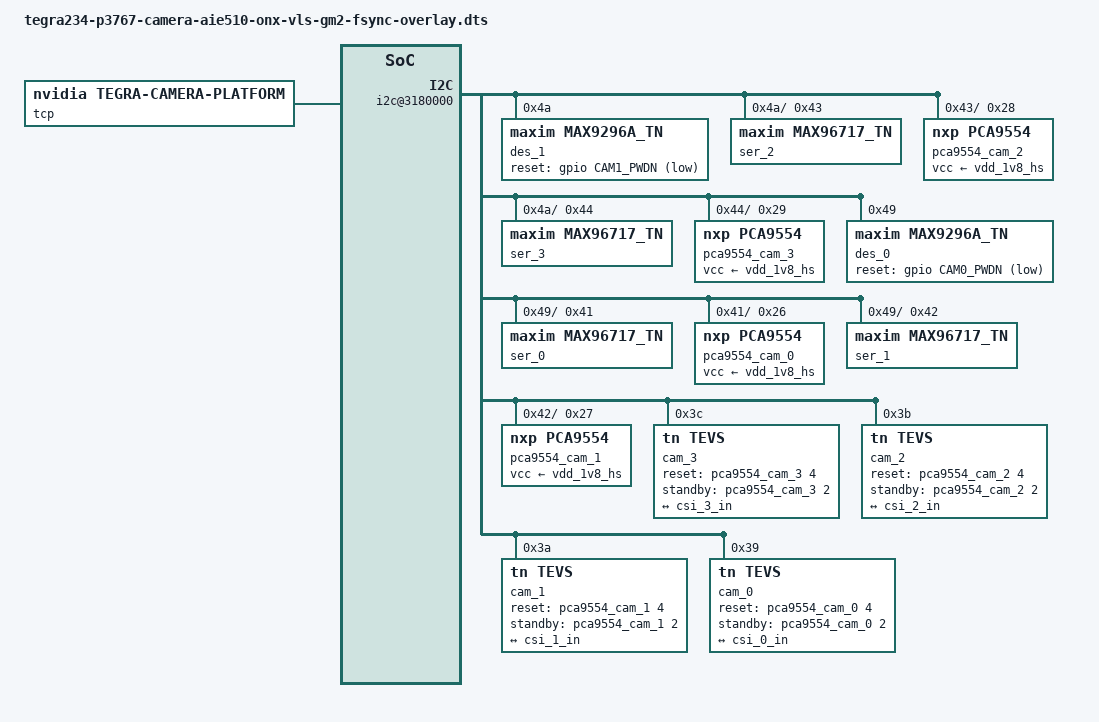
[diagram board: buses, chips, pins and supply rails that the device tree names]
// SPDX-License-Identifier: GPL-2.0-only
// SPDX-FileCopyrightText: Copyright (c) 2023, NVIDIA CORPORATION & AFFILIATES. All rights reserved.

/dts-v1/;
/plugin/;

#include <dt-bindings/tegra234-p3767-0000-common.h>
#include <dt-bindings/pinctrl/pinctrl-tegra.h>

#define CAM0_PWDN		TEGRA234_MAIN_GPIO(H, 6)
#define CAM1_PWDN		TEGRA234_MAIN_GPIO(AC, 0)

#define CAM_I2C_MUX 	TEGRA234_AON_GPIO(CC, 3)

#define CAM_NUM 4

#define CAM0_PORT 				0
#define CAM0_LANES 				4
#define CAM0_VC_ID 				0
#define CAM0_LANES_STRING 		"4"
#define CAM0_SINTERFACE			"serial_a"
#define CAM0_LANE_POLARITY		"6"
#define CAM0_PIXEL_CLK			"200000000"
#define CAM0_SERDES_PIXEL_CLK	"500000000"
#define CAM0_DES_PHY_ID			0

#define CAM1_PORT 				0
#define CAM1_LANES 				4
#define CAM1_VC_ID 				1
#define CAM1_LANES_STRING 		"4"
#define CAM1_SINTERFACE			"serial_a"
#define CAM1_LANE_POLARITY		"6"
#define CAM1_PIXEL_CLK			"200000000"
#define CAM1_SERDES_PIXEL_CLK	"500000000"
#define CAM1_DES_PHY_ID			0

#define CAM2_PORT 				2
#define CAM2_LANES 				4
#define CAM2_VC_ID 				0
#define CAM2_LANES_STRING 		"4"
#define CAM2_SINTERFACE			"serial_c"
#define CAM2_LANE_POLARITY		"0"
#define CAM2_PIXEL_CLK			"200000000"
#define CAM2_SERDES_PIXEL_CLK	"500000000"
#define CAM2_DES_PHY_ID			0

#define CAM3_PORT 				2
#define CAM3_LANES 				4
#define CAM3_VC_ID 				1
#define CAM3_LANES_STRING 		"4"
#define CAM3_SINTERFACE			"serial_c"
#define CAM3_LANE_POLARITY		"0"
#define CAM3_PIXEL_CLK			"200000000"
#define CAM3_SERDES_PIXEL_CLK	"500000000"
#define CAM3_DES_PHY_ID			0

#define DES_LINK_FREQ			1000000000
#define TEVS_LINK_FREQ			400000000

#define TEVS_MODE_COMMON(LANES, SINTERFACE, LANE_POLARITY, PIXEL_CLK, SERDES_PIXEL_CLK)	\
	mclk_khz = "24000";							\
	num_lanes = LANES;							\
	tegra_sinterface = SINTERFACE;				\
	lane_polarity = LANE_POLARITY;				\
	phy_mode = "DPHY";							\
	discontinuous_clk = "no";					\
	dpcm_enable = "false";						\
	cil_settletime = "0";						\
	mode_type = "yuv";							\
	pixel_phase = "uyvy";						\
	csi_pixel_bit_depth = "16";					\
	readout_orientation = "90";					\
	line_length = "3448";						\
	inherent_gain = "1";						\
	mclk_multiplier = "9.33";					\
	pix_clk_hz = PIXEL_CLK;						\
	serdes_pix_clk_hz = SERDES_PIXEL_CLK;		\
	gain_factor = "16";							\
	framerate_factor = "1000000";				\
	exposure_factor = "1000000";				\
	min_gain_val = "16";						\
	max_gain_val = "170";						\
	step_gain_val = "1";						\
	default_gain = "16";						\
	min_hdr_ratio = "1";						\
	max_hdr_ratio = "1";						\
	min_framerate = "2000000";					\
	step_framerate = "1";						\
	min_exp_time = "13";						\
	max_exp_time = "683709";					\
	step_exp_time = "1";						\
	default_exp_time = "2495";					\
	embedded_metadata_height = "0";

#define TEVS_MODES(LANES, SINTERFACE, LANE_POLARITY, PIXEL_CLK, SERDES_PIXEL_CLK)	\
	mode0 {										\
		TEVS_MODE_COMMON(LANES, SINTERFACE, LANE_POLARITY, PIXEL_CLK, SERDES_PIXEL_CLK)	\
		active_w = "3280";						\
		active_h = "2464";						\
		max_framerate = "21000000";				\
		default_framerate = "21000000";			\
	};											\
	mode1 {										\
		TEVS_MODE_COMMON(LANES, SINTERFACE, LANE_POLARITY, PIXEL_CLK, SERDES_PIXEL_CLK)	\
		active_w = "3280";						\
		active_h = "1848";						\
		max_framerate = "28000000";				\
		default_framerate = "28000000";			\
	};											\
	mode2 {										\
		TEVS_MODE_COMMON(LANES, SINTERFACE, LANE_POLARITY, PIXEL_CLK, SERDES_PIXEL_CLK)	\
		active_w = "1920";						\
		active_h = "1080";						\
		max_framerate = "30000000";				\
		default_framerate = "30000000";			\
	};											\
	mode3 {										\
		TEVS_MODE_COMMON(LANES, SINTERFACE, LANE_POLARITY, PIXEL_CLK, SERDES_PIXEL_CLK)	\
		active_w = "1640";						\
		active_h = "1232";						\
		max_framerate = "30000000";				\
		default_framerate = "30000000";			\
	};											\
	mode4 {										\
		TEVS_MODE_COMMON(LANES, SINTERFACE, LANE_POLARITY, PIXEL_CLK, SERDES_PIXEL_CLK)	\
		active_w = "1280";						\
		active_h = "720";						\
		max_framerate = "60000000";				\
		default_framerate = "60000000";			\
	};											\
	mode5 {										\
		TEVS_MODE_COMMON(LANES, SINTERFACE, LANE_POLARITY, PIXEL_CLK, SERDES_PIXEL_CLK)	\
		active_w = "640";						\
		active_h = "480";						\
		max_framerate = "60000000";				\
		default_framerate = "60000000";			\
	};

/ {
	overlay-name = "TechNexion VLS-GM2 Camera with FSYNC Pixel Mode";
	jetson-header-name = "Jetson 24pin CSI Connector";

	fragment@0 {
		target = <&pinmux>;
		__overlay__ {
			pinctrl-names = "default";
			pinctrl-0 = <&jetson_io_pinmux>;
			jetson_io_pinmux: exp-header-pinmux {
				uart4_cts_ph6 {
					nvidia,pins = "uart4_cts_ph6";
					nvidia,function = "rsvd1";
					nvidia,pin-label = "cam_pwdn0";
					nvidia,pull = <TEGRA_PIN_PULL_UP>;
					nvidia,tristate = <TEGRA_PIN_DISABLE>;
					nvidia,enable-input = <TEGRA_PIN_DISABLE>;
				};
				spi5_sck_pac0 {
					nvidia,pins = "spi5_sck_pac0";
					nvidia,function = "rsvd3";
					nvidia,pin-group = "cam_pwdn1";
					nvidia,pull = <TEGRA_PIN_PULL_UP>;
					nvidia,tristate = <TEGRA_PIN_DISABLE>;
					nvidia,enable-input = <TEGRA_PIN_ENABLE>;
				};
			};
		};
	};

	fragment-camera-tevs@1 {
		target-path = "/";
		__overlay__ {
			tegra-capture-vi  {
				num-channels = <CAM_NUM>;
				ports {
					#address-cells = <1>;
					#size-cells = <0>;

					vi_port0: port@0 {
						reg = <0>;

						vi_in0: endpoint {
							vc-id = <CAM0_VC_ID>;
							port-index = <CAM0_PORT>;
							bus-width = <CAM0_LANES>;
							remote-endpoint = <&csi_0_out>;
						};
					};

					vi_port1: port@1 {
						reg = <1>;

						vi_in1: endpoint {
							vc-id = <CAM1_VC_ID>;
							port-index = <CAM1_PORT>;
							bus-width = <CAM1_LANES>;
							remote-endpoint = <&csi_1_out>;
						};
					};

					vi_port2: port@2 {
						reg = <2>;

						vi_in2: endpoint {
							vc-id = <CAM2_VC_ID>;
							port-index = <CAM2_PORT>;
							bus-width = <CAM2_LANES>;
							remote-endpoint = <&csi_2_out>;
						};
					};

					vi_port3: port@3 {
						reg = <3>;

						vi_in3: endpoint {
							vc-id = <CAM3_VC_ID>;
							port-index = <CAM3_PORT>;
							bus-width = <CAM3_LANES>;
							remote-endpoint = <&csi_3_out>;
						};
					};
				};
			};

			tcp: tegra-camera-platform {
				compatible = "nvidia, tegra-camera-platform";
				/**
				* Physical settings to calculate max ISO BW
				*
				* num_csi_lanes = <>;
				* Total number of CSI lanes when all cameras are active
				*
				* max_lane_speed = <>;
				* Max lane speed in Kbit/s
				*
				* min_bits_per_pixel = <>;
				* Min bits per pixel
				*
				* vi_peak_byte_per_pixel = <>;
				* Max byte per pixel for the VI ISO case
				*
				* vi_bw_margin_pct = <>;
				* Vi bandwidth margin in percentage
				*
				* max_pixel_rate = <>;
				* Max pixel rate in Kpixel/s for the ISP ISO case
				*
				* isp_peak_byte_per_pixel = <>;
				* Max byte per pixel for the ISP ISO case
				*
				* isp_bw_margin_pct = <>;
				* Isp bandwidth margin in percentage
				*/
				num_csi_lanes = <8>;
				max_lane_speed = <2500000>;
				min_bits_per_pixel = <16>;
				vi_peak_byte_per_pixel = <2>;
				vi_bw_margin_pct = <25>;
				// max_pixel_rate = <240000>;
				// isp_peak_byte_per_pixel = <5>;
				// isp_bw_margin_pct = <25>;

				/**
				 * The general guideline for naming badge_info contains 3 parts, and is as follows,
				 * The first part is the camera_board_id for the module; if the module is in a FFD
				 * platform, then use the platform name for this part.
				 * The second part contains the position of the module, ex. "rear" or "front".
				 * The third part contains the last 6 characters of a part number which is found
				 * in the module's specsheet from the vendor.
				 */
				modules {
					module0 {
						badge = "jakku_front_RBP194";
						position = "front";
						orientation = "1";
						drivernode0 {
							pcl_id = "v4l2_sensor";
							sysfs-device-tree = "/sys/firmware/devicetree/base/bus@0/i2c@3180000/rpi22_tevs_a@39";
						};
					};

					module1 {
						badge = "jakku_front_RBP194";
						position = "front";
						orientation = "1";
						drivernode0 {
							pcl_id = "v4l2_sensor";
							sysfs-device-tree = "/sys/firmware/devicetree/base/bus@0/i2c@3180000/rpi22_tevs_b@3a";
						};
					};

					module2 {
						badge = "jakku_front_RBP194";
						position = "front";
						orientation = "1";
						drivernode0 {
							pcl_id = "v4l2_sensor";
							sysfs-device-tree = "/sys/firmware/devicetree/base/bus@0/i2c@3180000/rpi22_tevs_c@3b";
						};
					};

					module3 {
						badge = "jakku_front_RBP194";
						position = "front";
						orientation = "1";
						drivernode0 {
							pcl_id = "v4l2_sensor";
							sysfs-device-tree = "/sys/firmware/devicetree/base/bus@0/i2c@3180000/rpi22_tevs_d@3c";
						};
					};
				};
			};

			bus@0 {
				host1x@13e00000 {
					nvcsi@15a00000 {
						#address-cells = <1>;
						#size-cells = <0>;

						num-channels = <CAM_NUM>;

						channel@0 {
							reg = <0>;
							ports {
								#address-cells = <1>;
								#size-cells = <0>;

								port@0 {
									reg = <0>;

									csi_0_in: endpoint@0 {
										port-index = <CAM0_PORT>;
										bus-width = <CAM0_LANES>;
										remote-endpoint = <&rpi22_tevs_0_out>;
									};
								};

								port@1 {
									reg = <1>;

									csi_0_out: endpoint@1 {
										remote-endpoint = <&vi_in0>;
									};
								};
							};
						};

						channel@1 {
							reg = <1>;
							ports {
								#address-cells = <1>;
								#size-cells = <0>;

								port@0 {
									reg = <0>;

									csi_1_in: endpoint@2 {
										port-index = <CAM1_PORT>;
										bus-width = <CAM1_LANES>;
										remote-endpoint = <&rpi22_tevs_1_out>;
									};
								};

								port@1 {
									reg = <1>;

									csi_1_out: endpoint@3 {
										remote-endpoint = <&vi_in1>;
									};
								};
							};
						};

						channel@2 {
							reg = <2>;
							ports {
								#address-cells = <1>;
								#size-cells = <0>;

								port@0 {
									reg = <0>;

									csi_2_in: endpoint@4 {
										port-index = <CAM2_PORT>;
										bus-width = <CAM2_LANES>;
										remote-endpoint = <&rpi22_tevs_2_out>;
									};
								};

								port@1 {
									reg = <1>;

									csi_2_out: endpoint@5 {
										remote-endpoint = <&vi_in2>;
									};
								};
							};
						};

						channel@3 {
							reg = <3>;
							ports {
								#address-cells = <1>;
								#size-cells = <0>;

								port@0 {
									reg = <0>;

									csi_3_in: endpoint@6 {
										port-index = <CAM3_PORT>;
										bus-width = <CAM3_LANES>;
										remote-endpoint = <&rpi22_tevs_3_out>;
									};
								};

								port@1 {
									reg = <1>;

									csi_3_out: endpoint@7 {
										remote-endpoint = <&vi_in3>;
									};
								};
							};
						};
					};
				};

				gpio@2200000 {
					camera-control-output-low {
						status = "disabled";
						gpio-hog;
						output-low;
					};
				};

				i2c@3180000 {
					#address-cells = <1>;
					#size-cells = <0>;

					status = "okay";

					des_1: gmsl-deserializer@4a {
						#address-cells = <1>;
						#size-cells = <0>;
						status = "okay";

						compatible = "maxim,max9296a_tn";
						reg = <0x4a>;

						reset-gpios = <&gpio CAM1_PWDN GPIO_ACTIVE_LOW>;

						//i2c addr alias map "serializer0, serializer1"
						i2c-addr-alias-map-local = <0x43 0x44>;
						i2c-addr-alias-map-remote = <0x40 0x40>;
						i2c-addr-alias-source-id = <0 1>;

						gpio-controller;
						#gpio-cells = <2>;
						gpio-ranges = <&des_1 0 0 12>;

						pinctrl-names = "default";
						pinctrl-0 = <&des_1_pinmux_default>;

						fsync-mode = "external";

						des_1_pinmux_default: pinmux {
							mfp6_fsync {
								pins = "mfp6";
								function = "gpio";
								maxim,gmsl-tx = <1>;
								maxim,gmsl-tx-id = <0>;
								input-enable;
							};
						};

						i2c-mux {
							#address-cells = <1>;
							#size-cells = <0>;

							des_1_i2c_0: i2c@0 {
								#address-cells = <1>;
								#size-cells = <0>;

								reg = <0>;
							};

							des_1_i2c_1: i2c@1 {
								#address-cells = <1>;
								#size-cells = <0>;

								reg = <1>;
							};
						};

						phy@0 {
							reg = <0>;
						};

						pipe@0 {
							reg = <0>;

							maxim,phy-id = <CAM2_DES_PHY_ID>;
						};

						pipe@1 {
							reg = <1>;

							maxim,phy-id = <CAM3_DES_PHY_ID>;
						};

						channel@1 {
							reg = <1>;
							label = "des_1_ch_1";

							maxim,phy-id = <CAM3_DES_PHY_ID>;

							clock-lanes = <0>;
							data-lanes = <1 2 3 4>;
							link-frequencies = /bits/ 64 <DES_LINK_FREQ>;
						};

						channel@0 {
							reg = <0>;
							label = "des_1_ch_0";

							maxim,phy-id = <CAM2_DES_PHY_ID>;

							clock-lanes = <0>;
							data-lanes = <1 2 3 4>;
							link-frequencies = /bits/ 64 <DES_LINK_FREQ>;
						};
					};

					des_0: gmsl-deserializer@49 {
						#address-cells = <1>;
						#size-cells = <0>;
						status = "okay";

						compatible = "maxim,max9296a_tn";
						reg = <0x49>;
						phy-reg = <0x48>;

						reset-gpios = <&gpio CAM0_PWDN GPIO_ACTIVE_LOW>;

						//i2c addr alias map "serializer0, serializer1"
						i2c-addr-alias-map-local = <0x41 0x42>;
						i2c-addr-alias-map-remote = <0x40 0x40>;
						i2c-addr-alias-source-id = <0 1>;

						gpio-controller;
						#gpio-cells = <2>;
						gpio-ranges = <&des_0 0 0 12>;

						fsync-mode = "internal-output";
						fsync-freq = <30>;

						i2c-mux {
							#address-cells = <1>;
							#size-cells = <0>;

							des_0_i2c_0: i2c@0 {
								#address-cells = <1>;
								#size-cells = <0>;

								reg = <0>;
							};

							des_0_i2c_1: i2c@1 {
								#address-cells = <1>;
								#size-cells = <0>;

								reg = <1>;
							};
						};

						phy@0 {
							reg = <0>;
						};

						pipe@0 {
							reg = <0>;

							maxim,phy-id = <CAM0_DES_PHY_ID>;
						};

						pipe@1 {
							reg = <1>;

							maxim,phy-id = <CAM1_DES_PHY_ID>;
						};

						channel@1 {
							reg = <1>;
							label = "des_0_ch_1";

							maxim,phy-id = <CAM1_DES_PHY_ID>;

							clock-lanes = <0>;
							data-lanes = <1 2 3 4>;
							link-frequencies = /bits/ 64 <DES_LINK_FREQ>;
						};

						channel@0 {
							reg = <0>;
							label = "des_0_ch_0";

							maxim,phy-id = <CAM0_DES_PHY_ID>;

							clock-lanes = <0>;
							data-lanes = <1 2 3 4>;
							link-frequencies = /bits/ 64 <DES_LINK_FREQ>;
						};
					};

					cam_3: rpi22_tevs_d@3c {
						compatible = "tn,tevs";
						/* I2C device address */
						reg = <0x3c>;
						status = "okay";

						reset-gpios = <&pca9554_cam_3 4 GPIO_ACTIVE_HIGH>;
						standby-gpios = <&pca9554_cam_3 2 GPIO_ACTIVE_HIGH>;
						technexion,gmsl-ser = <&ser_3>;
						technexion,gmsl-des = <&des_1>;
						technexion,gmsl-des-channel = <1>;
						trigger-mode = <2>;

						/* V4L2 device node location */
						devnode = "video3";
						/* Physical dimensions of sensor */
						physical_w = "3.680";
						physical_h = "2.760";
						sensor_model = "tevs";
						use_sensor_mode_id = "false";

						TEVS_MODES(CAM3_LANES_STRING, CAM3_SINTERFACE, CAM3_LANE_POLARITY, CAM3_PIXEL_CLK, CAM3_SERDES_PIXEL_CLK)

						ports {
							#address-cells = <1>;
							#size-cells = <0>;
							port@0 {
								reg = <0>;

								rpi22_tevs_3_out: endpoint {
									port-index = <CAM3_PORT>;
									bus-width = <CAM3_LANES>;
									remote-endpoint = <&csi_3_in>;
									link-frequencies = /bits/ 64 <TEVS_LINK_FREQ>;
								};
							};
						};
					};

					cam_2: rpi22_tevs_c@3b {
						compatible = "tn,tevs";
						/* I2C device address */
						reg = <0x3b>;
						status = "okay";

						reset-gpios = <&pca9554_cam_2 4 GPIO_ACTIVE_HIGH>;
						standby-gpios = <&pca9554_cam_2 2 GPIO_ACTIVE_HIGH>;
						technexion,gmsl-ser = <&ser_2>;
						technexion,gmsl-des = <&des_1>;
						technexion,gmsl-des-channel = <0>;
						trigger-mode = <2>;

						/* V4L2 device node location */
						devnode = "video2";
						/* Physical dimensions of sensor */
						physical_w = "3.680";
						physical_h = "2.760";
						sensor_model = "tevs";
						use_sensor_mode_id = "false";

						TEVS_MODES(CAM2_LANES_STRING, CAM2_SINTERFACE, CAM2_LANE_POLARITY, CAM2_PIXEL_CLK, CAM2_SERDES_PIXEL_CLK)

						ports {
							#address-cells = <1>;
							#size-cells = <0>;
							port@0 {
								reg = <0>;

								rpi22_tevs_2_out: endpoint {
									port-index = <CAM2_PORT>;
									bus-width = <CAM2_LANES>;
									remote-endpoint = <&csi_2_in>;
									link-frequencies = /bits/ 64 <TEVS_LINK_FREQ>;
								};
							};
						};
					};

					cam_1: rpi22_tevs_b@3a {
						compatible = "tn,tevs";
						/* I2C device address */
						reg = <0x3a>;
						status = "okay";

						reset-gpios = <&pca9554_cam_1 4 GPIO_ACTIVE_HIGH>;
						standby-gpios = <&pca9554_cam_1 2 GPIO_ACTIVE_HIGH>;
						technexion,gmsl-ser = <&ser_1>;
						technexion,gmsl-des = <&des_0>;
						technexion,gmsl-des-channel = <1>;
						trigger-mode = <2>;

						/* V4L2 device node location */
						devnode = "video1";
						/* Physical dimensions of sensor */
						physical_w = "3.680";
						physical_h = "2.760";
						sensor_model = "tevs";
						use_sensor_mode_id = "false";

						TEVS_MODES(CAM1_LANES_STRING, CAM1_SINTERFACE, CAM1_LANE_POLARITY, CAM1_PIXEL_CLK, CAM1_SERDES_PIXEL_CLK)

						ports {
							#address-cells = <1>;
							#size-cells = <0>;
							port@0 {
								reg = <0>;

								rpi22_tevs_1_out: endpoint {
									port-index = <CAM1_PORT>;
									bus-width = <CAM1_LANES>;
									remote-endpoint = <&csi_1_in>;
									link-frequencies = /bits/ 64 <TEVS_LINK_FREQ>;
								};
							};
						};
					};

					cam_0: rpi22_tevs_a@39 {
						compatible = "tn,tevs";
						/* I2C device address */
						reg = <0x39>;
						status = "okay";

						reset-gpios = <&pca9554_cam_0 4 GPIO_ACTIVE_HIGH>;
						standby-gpios = <&pca9554_cam_0 2 GPIO_ACTIVE_HIGH>;
						technexion,gmsl-ser = <&ser_0>;
						technexion,gmsl-des = <&des_0>;
						technexion,gmsl-des-channel = <0>;
						trigger-mode = <2>;

						/* V4L2 device node location */
						devnode = "video0";
						/* Physical dimensions of sensor */
						physical_w = "3.680";
						physical_h = "2.760";
						sensor_model = "tevs";
						use_sensor_mode_id = "false";

						TEVS_MODES(CAM0_LANES_STRING, CAM0_SINTERFACE, CAM0_LANE_POLARITY, CAM0_PIXEL_CLK, CAM0_SERDES_PIXEL_CLK)

						ports {
							#address-cells = <1>;
							#size-cells = <0>;
							port@0 {
								reg = <0>;

								rpi22_tevs_0_out: endpoint {
									port-index = <CAM0_PORT>;
									bus-width = <CAM0_LANES>;
									remote-endpoint = <&csi_0_in>;
									link-frequencies = /bits/ 64 <TEVS_LINK_FREQ>;
								};
							};
						};
					};
				};
			};
		};
	};
};

&des_0_i2c_0 {
	ser_0: gmsl-serializer@41 {
		#address-cells = <1>;
		#size-cells = <0>;
		status = "okay";

		compatible = "maxim,max96717_tn";
		reg = <0x41>;

		// i2c addr alias map "sensor, gpio expander"
		i2c-addr-alias-map-local = <0x39 0x26>;
		i2c-addr-alias-map-remote = <0x48 0x25>;

		gpio-controller;
		#gpio-cells = <2>;
		gpio-ranges = <&ser_0 0 0 11>;

		pinctrl-names = "default";
		pinctrl-0 = <&ser_0_pinmux_default>;

		ser_0_pinmux_default: pinmux {
			mfp0_fsync {
				pins = "mfp0";
				function = "gpio";
				maxim,gmsl-rx = <1>;
				maxim,gmsl-rx-id = <0>;
				output-enable;
				output-low;
			};
		};

		i2c-mux {
			#address-cells = <1>;
			#size-cells = <0>;

			ser_0_i2c_0: i2c@0 {
				#address-cells = <1>;
				#size-cells = <0>;

				reg = <0>;
			};
		};

		pipe@0 {
			reg = <0>;

			maxim,stream-id = <0>;
		};

		channel@0 {
			reg = <0>;
			label = "ser_0_ch_0";

			clock-lanes = <0>;
			data-lanes = <1 2 3 4>;
		};
	};
};

&ser_0_i2c_0 {
	pca9554_cam_0: pca9554@26 {
		compatible = "nxp,pca9554";
		reg = <0x26>;
		gpio-controller;
		#gpio-cells = <2>;
		gpio-line-names = "EXPOSURE_TRIG_IN",
						"FLASH_OUT",
						"INFO_TRIG_IN",
						"CAMA_SHUTTER",
						"CSI_P1_nRST",
						"PWR_TIME0",
						"PWR_TIME1",
						"3V3_EN";
		vcc-supply = <&vdd_1v8_hs>;
		vcc_lp = "vcc";
		status = "okay";
	};
};

&des_0_i2c_1 {
	ser_1: gmsl-serializer@42 {
		#address-cells = <1>;
		#size-cells = <0>;
		status = "okay";

		compatible = "maxim,max96717_tn";
		reg = <0x42>;

		// i2c addr alias map "sensor, gpio expander"
		i2c-addr-alias-map-local = <0x3a 0x27>;
		i2c-addr-alias-map-remote = <0x48 0x25>;

		gpio-controller;
		#gpio-cells = <2>;
		gpio-ranges = <&ser_1 0 0 11>;

		pinctrl-names = "default";
		pinctrl-0 = <&ser_1_pinmux_default>;

		ser_1_pinmux_default: pinmux {
			mfp0_fsync {
				pins = "mfp0";
				function = "gpio";
				maxim,gmsl-rx = <1>;
				maxim,gmsl-rx-id = <0>;
				output-enable;
				output-low;
			};
		};

		i2c-mux {
			#address-cells = <1>;
			#size-cells = <0>;

			ser_1_i2c_0: i2c@0 {
				#address-cells = <1>;
				#size-cells = <0>;

				reg = <0>;
			};
		};

		pipe@0 {
			reg = <0>;

			maxim,stream-id = <1>;
		};

		channel@0 {
			reg = <0>;
			label = "ser_1_ch_0";

			clock-lanes = <0>;
			data-lanes = <1 2 3 4>;
		};
	};
};

&ser_1_i2c_0 {
	pca9554_cam_1: pca9554@27 {
		compatible = "nxp,pca9554";
		reg = <0x27>;
		gpio-controller;
		#gpio-cells = <2>;
		gpio-line-names = "EXPOSURE_TRIG_IN",
						"FLASH_OUT",
						"INFO_TRIG_IN",
						"CAMA_SHUTTER",
						"CSI_P1_nRST",
						"PWR_TIME0",
						"PWR_TIME1",
						"3V3_EN";
		vcc-supply = <&vdd_1v8_hs>;
		vcc_lp = "vcc";
		status = "okay";
	};
};

&des_1_i2c_0 {
	ser_2: gmsl-serializer@43 {
		#address-cells = <1>;
		#size-cells = <0>;
		status = "okay";

		compatible = "maxim,max96717_tn";
		reg = <0x43>;

		// i2c addr alias map "sensor, gpio expander"
		i2c-addr-alias-map-local = <0x3b 0x28>;
		i2c-addr-alias-map-remote = <0x48 0x25>;

		gpio-controller;
		#gpio-cells = <2>;
		gpio-ranges = <&ser_2 0 0 11>;

		pinctrl-names = "default";
		pinctrl-0 = <&ser_2_pinmux_default>;

		ser_2_pinmux_default: pinmux {
			mfp0_fsync {
				pins = "mfp0";
				function = "gpio";
				maxim,gmsl-rx = <1>;
				maxim,gmsl-rx-id = <0>;
				output-enable;
				output-low;
			};
		};

		i2c-mux {
			#address-cells = <1>;
			#size-cells = <0>;

			ser_2_i2c_0: i2c@0 {
				#address-cells = <1>;
				#size-cells = <0>;

				reg = <0>;
			};
		};

		pipe@0 {
			reg = <0>;

			maxim,stream-id = <0>;
		};

		channel@0 {
			reg = <0>;
			label = "ser_2_ch_0";

			clock-lanes = <0>;
			data-lanes = <1 2 3 4>;
		};
	};
};

&ser_2_i2c_0 {
	pca9554_cam_2: pca9554@28 {
		compatible = "nxp,pca9554";
		reg = <0x28>;
		gpio-controller;
		#gpio-cells = <2>;
		gpio-line-names = "EXPOSURE_TRIG_IN",
						"FLASH_OUT",
						"INFO_TRIG_IN",
						"CAMA_SHUTTER",
						"CSI_P1_nRST",
						"PWR_TIME0",
						"PWR_TIME1",
						"3V3_EN";
		vcc-supply = <&vdd_1v8_hs>;
		vcc_lp = "vcc";
		status = "okay";
	};
};

&des_1_i2c_1 {
	ser_3: gmsl-serializer@44 {
		#address-cells = <1>;
		#size-cells = <0>;
		status = "okay";

		compatible = "maxim,max96717_tn";
		reg = <0x44>;

		// i2c addr alias map "sensor, gpio expander"
		i2c-addr-alias-map-local = <0x3c 0x29>;
		i2c-addr-alias-map-remote = <0x48 0x25>;

		gpio-controller;
		#gpio-cells = <2>;
		gpio-ranges = <&ser_3 0 0 11>;

		pinctrl-names = "default";
		pinctrl-0 = <&ser_3_pinmux_default>;

		ser_3_pinmux_default: pinmux {
			mfp0_fsync {
				pins = "mfp0";
				function = "gpio";
				maxim,gmsl-rx = <1>;
				maxim,gmsl-rx-id = <0>;
				output-enable;
				output-low;
			};
		};

		i2c-mux {
			#address-cells = <1>;
			#size-cells = <0>;

			ser_3_i2c_0: i2c@0 {
				#address-cells = <1>;
				#size-cells = <0>;

				reg = <0>;
			};
		};

		pipe@0 {
			reg = <0>;

			maxim,stream-id = <1>;
		};

		channel@0 {
			reg = <0>;
			label = "ser_3_ch_0";

			clock-lanes = <0>;
			data-lanes = <1 2 3 4>;
		};
	};
};

&ser_3_i2c_0 {
	pca9554_cam_3: pca9554@29 {
		compatible = "nxp,pca9554";
		reg = <0x29>;
		gpio-controller;
		#gpio-cells = <2>;
		gpio-line-names = "EXPOSURE_TRIG_IN",
						"FLASH_OUT",
						"INFO_TRIG_IN",
						"CAMA_SHUTTER",
						"CSI_P1_nRST",
						"PWR_TIME0",
						"PWR_TIME1",
						"3V3_EN";
		vcc-supply = <&vdd_1v8_hs>;
		vcc_lp = "vcc";
		status = "okay";
	};
};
